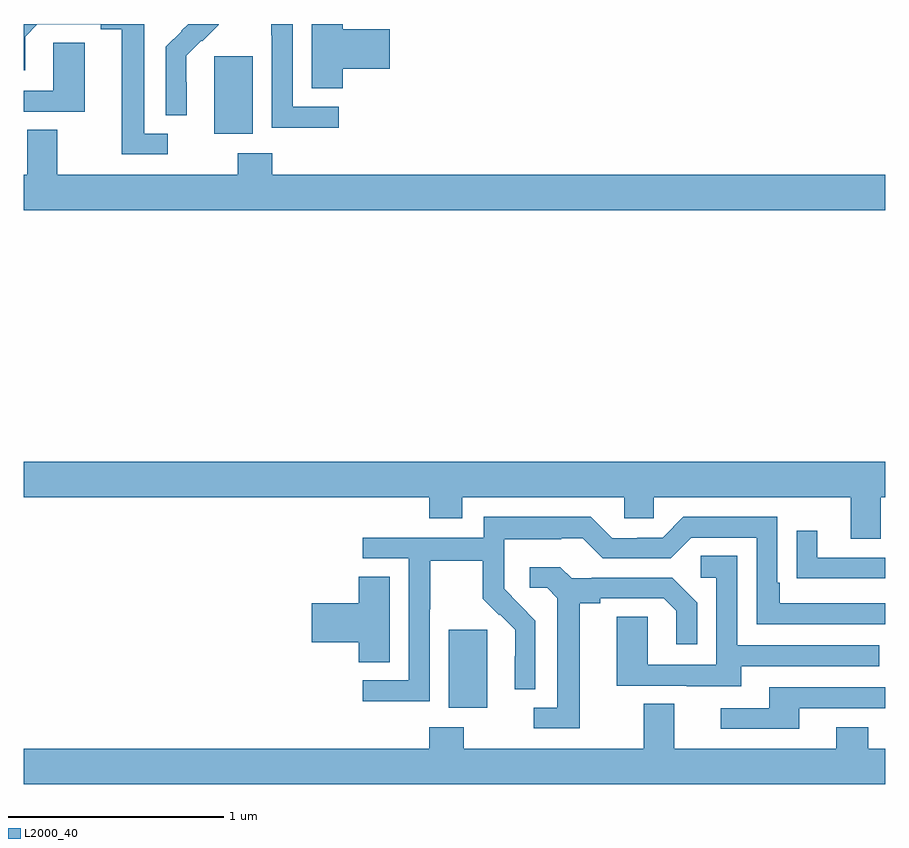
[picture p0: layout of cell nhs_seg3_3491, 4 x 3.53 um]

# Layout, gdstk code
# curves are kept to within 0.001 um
import gdstk
lib = gdstk.Library(unit=1e-6, precision=1e-09)
def R(c, l, rs):  # rectangles x0, y0, x1, y1
    for r in rs: c.add(gdstk.rectangle(r[:2], r[2:], *l))
def P(c, l, *ps):  # polygons
    for p in ps: c.add(gdstk.Polygon(p, *l))
L2000_40 = (2000, 40)

nhs_seg3_3491 = lib.new_cell('nhs_seg3_3491')
R(nhs_seg3_3491, L2000_40, [(292.973,745.226,293.152,745.587), (291.884,747.89,292.063,748.251)])
P(nhs_seg3_3491, L2000_40, [(292.462,748.017),(292.248,748.017),(292.248,748.4),(292.15,748.4),(292.15,748.348),(292.152,748.348),(292.152,747.919),(292.462,747.919)],
  [(291.756,748.13),(291.755,748.253),(291.825,748.323),(291.828,748.32),(291.905,748.397),(291.905,748.4),(291.764,748.4),(291.66,748.294),(291.66,747.976),(291.756,747.976)],
  [(291.67,747.891),(291.559,747.891),(291.56,748.4),(291,748.4),(291,748.185),(291.007,748.185),(291.007,748.341),(291.064,748.398),(291.359,748.398),(291.359,748.376),(291.455,748.376),(291.455,747.795),(291.67,747.795)],
  [(292.481,748.193),(292.699,748.193),(292.699,748.376),(292.481,748.376),(292.481,748.4),(292.337,748.4),(292.337,748.102),(292.481,748.102)],
  [(291.283,748.313),(291.138,748.313),(291.138,748.089),(291,748.089),(291,747.993),(291.283,747.993)],
  [(295,747.7),(292.154,747.7),(292.154,747.799),(291.994,747.799),(291.994,747.7),(291.157,747.7),(291.157,747.908),(291.017,747.908),(291.017,747.7),(291,747.7),(291,747.536),(295,747.536)],
  [(294.979,746.204),(295,746.204),(295,746.368),(291,746.368),(291,746.204),(292.883,746.204),(292.883,746.105),(293.035,746.105),(293.035,746.204),(293.787,746.204),(293.787,746.106),(293.925,746.106),(293.925,746.204),(294.839,746.204),(294.839,746.01),(294.979,746.01)],
  [(292.884,745.684),(292.887,745.684),(292.887,745.908),(293.131,745.908),(293.131,745.733),(293.208,745.656),(293.211,745.659),(293.282,745.589),(293.282,745.466),(293.28,745.466),(293.28,745.312),(293.376,745.312),(293.376,745.63),(293.23,745.778),(293.23,745.875),(293.232,745.875),(293.232,746.009),(293.495,746.009),(293.495,746.013),(293.595,746.013),(293.688,745.92),(294.003,745.92),(294.099,746.016),(294.402,746.016),(294.402,745.614),(295,745.614),(295,745.71),(294.511,745.71),(294.511,745.807),(294.498,745.807),(294.498,746.112),(294.063,746.112),(293.967,746.016),(293.849,746.016),(293.849,746.013),(293.733,746.013),(293.633,746.113),(293.136,746.113),(293.136,746.016),(292.575,746.016),(292.575,745.92),(292.788,745.92),(292.788,745.353),(292.575,745.353),(292.575,745.255),(292.884,745.255)],
  [(295,745.923),(294.685,745.923),(294.685,746.047),(294.589,746.047),(294.589,745.828),(294.691,745.828),(294.691,745.827),(295,745.827)],
  [(294.331,745.419),(294.971,745.419),(294.971,745.515),(294.312,745.515),(294.312,745.931),(294.144,745.931),(294.144,745.83),(294.216,745.83),(294.216,745.425),(293.898,745.425),(293.898,745.649),(293.753,745.649),(293.753,745.329),(294.077,745.329),(294.077,745.325),(294.331,745.325)],
  [(293.581,745.712),(293.677,745.712),(293.677,745.734),(293.972,745.734),(294.029,745.677),(294.029,745.521),(294.126,745.521),(294.126,745.714),(294.01,745.83),(293.638,745.83),(293.638,745.827),(293.544,745.827),(293.492,745.879),(293.349,745.879),(293.349,745.782),(293.43,745.782),(293.477,745.735),(293.477,745.227),(293.367,745.227),(293.367,745.131),(293.581,745.131)],
  [(292.699,745.835),(292.556,745.835),(292.556,745.712),(292.338,745.712),(292.338,745.529),(292.556,745.529),(292.556,745.438),(292.699,745.438)],
  [(294.601,745.224),(295,745.224),(295,745.32),(294.461,745.32),(294.461,745.224),(294.237,745.224),(294.237,745.128),(294.601,745.128)],
  [(295,745.036),(294.921,745.036),(294.921,745.135),(294.773,745.135),(294.773,745.036),(294.019,745.036),(294.019,745.244),(293.879,745.244),(293.879,745.036),(293.043,745.036),(293.043,745.135),(292.883,745.135),(292.883,745.036),(291,745.036),(291,744.872),(295,744.872)])

lib.write_gds('nhs_seg3_3491.gds')
